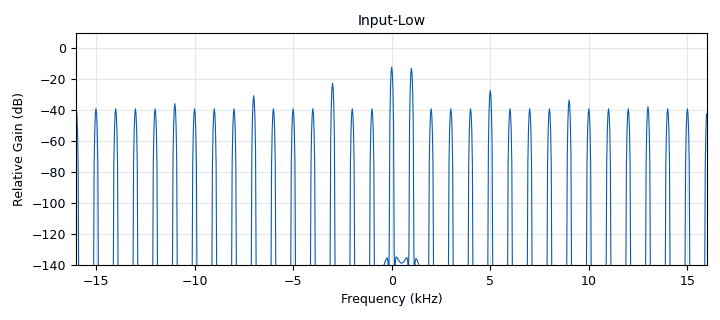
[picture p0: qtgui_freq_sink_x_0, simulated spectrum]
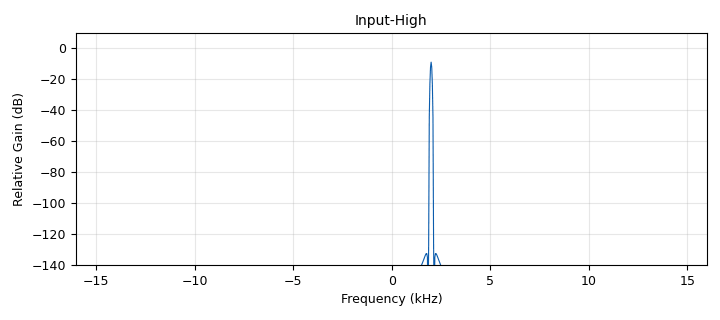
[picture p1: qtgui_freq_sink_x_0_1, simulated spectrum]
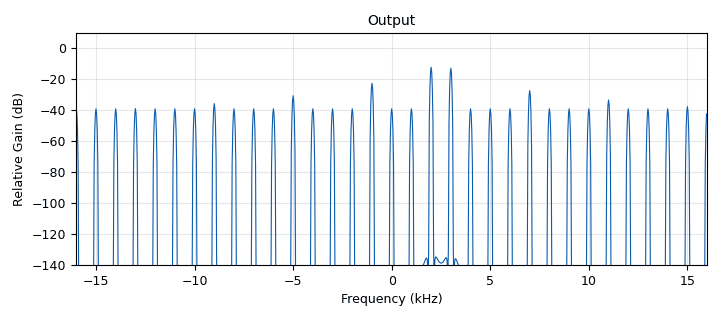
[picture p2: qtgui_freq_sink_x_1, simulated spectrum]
<?xml version='1.0' encoding='utf-8'?>
<?grc format='1' created='3.7.13'?>
<flow_graph>
<block>
<key>options</key>
<param><key>id</key><value>top_block</value></param>
<param><key>author</key><value>Ryan Engle</value></param>
<param><key>generate_options</key><value>qt_gui</value></param>
</block>
<block>
<key>variable</key>
<param><key>id</key><value>samp_rate</value></param>
<param><key>value</key><value>32000</value></param>
</block>
<block>
<key>analog_sig_source_x</key>
<param><key>id</key><value>analog_sig_source_x_0</value></param>
<param><key>amp</key><value>1</value></param>
<param><key>freq</key><value>1000</value></param>
<param><key>offset</key><value>0</value></param>
<param><key>type</key><value>complex</value></param>
<param><key>samp_rate</key><value>samp_rate</value></param>
<param><key>waveform</key><value>analog.GR_SQR_WAVE</value></param>
</block>
<block>
<key>analog_sig_source_x</key>
<param><key>id</key><value>analog_sig_source_x_0_0</value></param>
<param><key>amp</key><value>1</value></param>
<param><key>freq</key><value>2e3</value></param>
<param><key>offset</key><value>0</value></param>
<param><key>type</key><value>complex</value></param>
<param><key>samp_rate</key><value>samp_rate</value></param>
<param><key>waveform</key><value>analog.GR_COS_WAVE</value></param>
</block>
<block>
<key>blocks_add_xx</key>
<param><key>id</key><value>blocks_add_xx_0</value></param>
<param><key>_enabled</key><value>0</value></param>
<param><key>type</key><value>complex</value></param>
</block>
<block>
<key>blocks_multiply_xx</key>
<param><key>id</key><value>blocks_multiply_xx_0</value></param>
<param><key>type</key><value>complex</value></param>
</block>
<block>
<key>blocks_throttle</key>
<param><key>id</key><value>blocks_throttle_0</value></param>
<param><key>samples_per_second</key><value>samp_rate</value></param>
<param><key>type</key><value>complex</value></param>
</block>
<block>
<key>qtgui_freq_sink_x</key>
<param><key>id</key><value>qtgui_freq_sink_x_0</value></param>
<param><key>bw</key><value>samp_rate</value></param>
<param><key>fc</key><value>0</value></param>
<param><key>fftsize</key><value>1024</value></param>
<param><key>gui_hint</key><value>0,0</value></param>
<param><key>name</key><value>"Input-Low"</value></param>
<param><key>showports</key><value>True</value></param>
<param><key>type</key><value>complex</value></param>
<param><key>wintype</key><value>firdes.WIN_BLACKMAN_hARRIS</value></param>
</block>
<block>
<key>qtgui_freq_sink_x</key>
<param><key>id</key><value>qtgui_freq_sink_x_0_1</value></param>
<param><key>bw</key><value>samp_rate</value></param>
<param><key>fc</key><value>0</value></param>
<param><key>fftsize</key><value>1024</value></param>
<param><key>gui_hint</key><value>1,0</value></param>
<param><key>name</key><value>"Input-High"</value></param>
<param><key>showports</key><value>True</value></param>
<param><key>type</key><value>complex</value></param>
<param><key>wintype</key><value>firdes.WIN_BLACKMAN_hARRIS</value></param>
</block>
<block>
<key>qtgui_freq_sink_x</key>
<param><key>id</key><value>qtgui_freq_sink_x_1</value></param>
<param><key>bw</key><value>samp_rate</value></param>
<param><key>fc</key><value>0</value></param>
<param><key>fftsize</key><value>1024</value></param>
<param><key>gui_hint</key><value>2,0</value></param>
<param><key>name</key><value>"Output"</value></param>
<param><key>showports</key><value>True</value></param>
<param><key>type</key><value>complex</value></param>
<param><key>wintype</key><value>firdes.WIN_BLACKMAN_hARRIS</value></param>
</block>
<block>
<key>qtgui_sink_x</key>
<param><key>id</key><value>qtgui_sink_x_0</value></param>
<param><key>bw</key><value>samp_rate</value></param>
<param><key>fc</key><value>0</value></param>
<param><key>freqchangevar</key><value>None</value></param>
<param><key>_enabled</key><value>0</value></param>
<param><key>fftsize</key><value>1024</value></param>
<param><key>gui_hint</key><value>3,0</value></param>
<param><key>plottime</key><value>False</value></param>
<param><key>showports</key><value>True</value></param>
<param><key>type</key><value>complex</value></param>
<param><key>wintype</key><value>firdes.WIN_BLACKMAN_hARRIS</value></param>
</block>
<block>
<key>qtgui_time_sink_x</key>
<param><key>id</key><value>qtgui_time_sink_x_0</value></param>
<param><key>_enabled</key><value>0</value></param>
<param><key>color1</key><value>"blue"</value></param>
<param><key>label1</key><value></value></param>
<param><key>color2</key><value>"red"</value></param>
<param><key>label2</key><value></value></param>
<param><key>size</key><value>1024</value></param>
<param><key>srate</key><value>samp_rate</value></param>
<param><key>type</key><value>complex</value></param>
</block>
<connection><source_block_id>analog_sig_source_x_0</source_block_id><sink_block_id>blocks_throttle_0</sink_block_id><source_key>0</source_key><sink_key>0</sink_key></connection>
<connection><source_block_id>analog_sig_source_x_0_0</source_block_id><sink_block_id>blocks_add_xx_0</sink_block_id><source_key>0</source_key><sink_key>1</sink_key></connection>
<connection><source_block_id>analog_sig_source_x_0_0</source_block_id><sink_block_id>blocks_multiply_xx_0</sink_block_id><source_key>0</source_key><sink_key>1</sink_key></connection>
<connection><source_block_id>analog_sig_source_x_0_0</source_block_id><sink_block_id>qtgui_freq_sink_x_0_1</sink_block_id><source_key>0</source_key><sink_key>0</sink_key></connection>
<connection><source_block_id>blocks_add_xx_0</source_block_id><sink_block_id>qtgui_sink_x_0</sink_block_id><source_key>0</source_key><sink_key>0</sink_key></connection>
<connection><source_block_id>blocks_add_xx_0</source_block_id><sink_block_id>qtgui_time_sink_x_0</sink_block_id><source_key>0</source_key><sink_key>0</sink_key></connection>
<connection><source_block_id>blocks_multiply_xx_0</source_block_id><sink_block_id>qtgui_freq_sink_x_1</sink_block_id><source_key>0</source_key><sink_key>0</sink_key></connection>
<connection><source_block_id>blocks_throttle_0</source_block_id><sink_block_id>blocks_add_xx_0</sink_block_id><source_key>0</source_key><sink_key>0</sink_key></connection>
<connection><source_block_id>blocks_throttle_0</source_block_id><sink_block_id>blocks_multiply_xx_0</sink_block_id><source_key>0</source_key><sink_key>0</sink_key></connection>
<connection><source_block_id>blocks_throttle_0</source_block_id><sink_block_id>qtgui_freq_sink_x_0</sink_block_id><source_key>0</source_key><sink_key>0</sink_key></connection>
</flow_graph>
